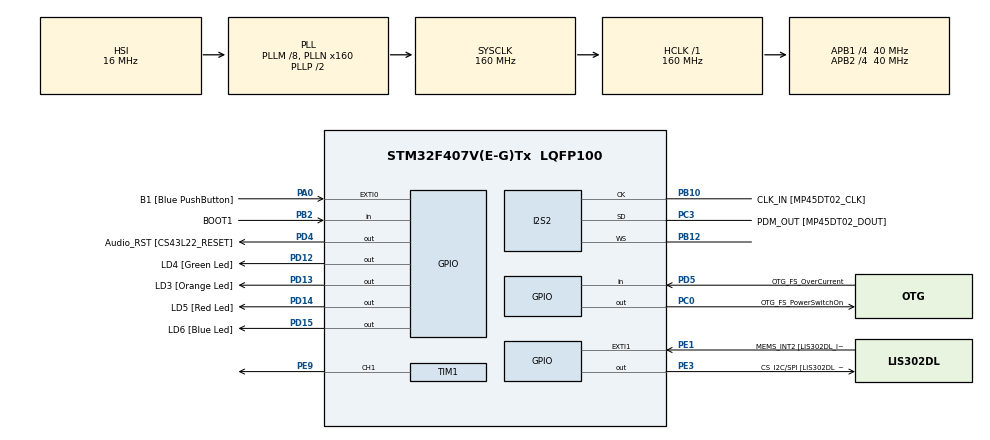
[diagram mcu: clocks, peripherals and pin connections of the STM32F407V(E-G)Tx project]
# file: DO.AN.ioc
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Dma.Request0=SPI2_RX
Dma.Request1=TIM1_CH1
Dma.SPI2_RX.0.Direction=DMA_PERIPH_TO_MEMORY
Dma.SPI2_RX.0.FIFOMode=DMA_FIFOMODE_DISABLE
Dma.SPI2_RX.0.Instance=DMA1_Stream3
Dma.SPI2_RX.0.MemDataAlignment=DMA_MDATAALIGN_HALFWORD
Dma.SPI2_RX.0.MemInc=DMA_MINC_ENABLE
Dma.SPI2_RX.0.Mode=DMA_CIRCULAR
Dma.SPI2_RX.0.PeriphDataAlignment=DMA_PDATAALIGN_HALFWORD
Dma.SPI2_RX.0.PeriphInc=DMA_PINC_DISABLE
Dma.SPI2_RX.0.Priority=DMA_PRIORITY_MEDIUM
Dma.TIM1_CH1.1.Direction=DMA_MEMORY_TO_PERIPH
Dma.TIM1_CH1.1.FIFOMode=DMA_FIFOMODE_DISABLE
Dma.TIM1_CH1.1.Instance=DMA2_Stream1
Dma.TIM1_CH1.1.MemDataAlignment=DMA_MDATAALIGN_HALFWORD
Dma.TIM1_CH1.1.MemInc=DMA_MINC_ENABLE
Dma.TIM1_CH1.1.Mode=DMA_NORMAL
Dma.TIM1_CH1.1.PeriphDataAlignment=DMA_PDATAALIGN_HALFWORD
Dma.TIM1_CH1.1.PeriphInc=DMA_PINC_DISABLE
Dma.TIM1_CH1.1.Priority=DMA_PRIORITY_HIGH
I2S2.AudioFreq=I2S_AUDIOFREQ_16K
I2S2.ErrorAudioFreq=-0.35 %
I2S2.FullDuplexMode=I2S_FULLDUPLEXMODE_DISABLE
I2S2.Instance=SPI$Index
I2S2.Mode=I2S_MODE_MASTER_RX
I2S2.RealAudioFreq=15.943 KHz
I2S2.VirtualMode=I2S_MODE_MASTER
Mcu.Family=STM32F4
Mcu.Name=STM32F407V(E-G)Tx
Mcu.Package=LQFP100
NVIC.DMA1_Stream3_IRQn=true\:0\:0\:false\:false\:true\:false\:true\:true
NVIC.DMA2_Stream1_IRQn=true\:0\:0\:false\:false\:true\:false\:true\:true
NVIC.PriorityGroup=NVIC_PRIORITYGROUP_0
PA0-WKUP.GPIO_Label=B1 [Blue PushButton]
PA0-WKUP.Signal=GPXTI0
PA10.GPIO_Label=OTG_FS_ID
PA10.GPIO_Mode=GPIO_MODE_AF_PP
PA10.GPIO_PuPd=GPIO_NOPULL
PA10.GPIO_Speed=GPIO_SPEED_FREQ_LOW
PA10.Signal=USB_OTG_FS_ID
PA11.GPIO_Label=OTG_FS_DM
PA11.GPIO_Mode=GPIO_MODE_AF_PP
PA11.GPIO_PuPd=GPIO_NOPULL
PA11.GPIO_Speed=GPIO_SPEED_FREQ_LOW
PA11.Signal=USB_OTG_FS_DM
PA12.GPIO_Label=OTG_FS_DP
PA12.GPIO_Mode=GPIO_MODE_AF_PP
PA12.GPIO_PuPd=GPIO_NOPULL
PA12.GPIO_Speed=GPIO_SPEED_FREQ_LOW
PA12.Signal=USB_OTG_FS_DP
PA13.GPIO_Label=SWDIO
PA13.Mode=Trace_Asynchronous_SW
PA13.Signal=SYS_JTMS-SWDIO
PA14.GPIO_Label=SWCLK
PA14.Mode=Trace_Asynchronous_SW
PA14.Signal=SYS_JTCK-SWCLK
PA4.GPIO_Label=I2S3_WS [CS43L22_LRCK]
PA4.GPIO_Mode=GPIO_MODE_AF_PP
PA4.GPIO_PuPd=GPIO_NOPULL
PA4.GPIO_Speed=GPIO_SPEED_FREQ_LOW
PA4.Signal=I2S3_WS
PA5.GPIO_Label=SPI1_SCK [LIS302DL_SCL/SPC]
PA5.GPIO_Mode=GPIO_MODE_AF_PP
PA5.GPIO_PuPd=GPIO_NOPULL
PA5.GPIO_Speed=GPIO_SPEED_FREQ_LOW
PA5.Signal=SPI1_SCK
PA6.GPIO_Label=SPI1_MISO [LIS302DL_SDO]
PA6.GPIO_Mode=GPIO_MODE_AF_PP
PA6.GPIO_PuPd=GPIO_NOPULL
PA6.GPIO_Speed=GPIO_SPEED_FREQ_LOW
PA6.Signal=SPI1_MISO
PA7.GPIO_Label=SPI1_MOSI [LIS302DL_SDA/SDI/SDO]
PA7.GPIO_Mode=GPIO_MODE_AF_PP
PA7.GPIO_PuPd=GPIO_NOPULL
PA7.GPIO_Speed=GPIO_SPEED_FREQ_LOW
PA7.Signal=SPI1_MOSI
PA9.GPIO_Label=VBUS_FS
PA9.GPIO_Mode=GPIO_MODE_INPUT
PA9.GPIO_PuPd=GPIO_NOPULL
PA9.Signal=USB_OTG_FS_VBUS
PB10.GPIO_Label=CLK_IN [MP45DT02_CLK]
PB10.GPIO_Mode=GPIO_MODE_AF_PP
PB10.GPIO_PuPd=GPIO_NOPULL
PB10.GPIO_Speed=GPIO_SPEED_FREQ_LOW
PB10.Mode=Half_Duplex_Master
PB10.Signal=I2S2_CK
PB12.Mode=Half_Duplex_Master
PB12.Signal=I2S2_WS
PB2.GPIO_Label=BOOT1
PB2.GPIO_Mode=GPIO_MODE_INPUT
PB2.GPIO_PuPd=GPIO_NOPULL
PB2.Signal=GPIO_Input
PB3.GPIO_Label=SWO
PB3.Mode=Trace_Asynchronous_SW
PB3.Signal=SYS_JTDO-SWO
PB6.GPIO_Label=Audio_SCL [CS43L22_SCL]
PB6.GPIO_Mode=GPIO_MODE_AF_OD
PB6.GPIO_PuPd=GPIO_NOPULL
PB6.GPIO_Speed=GPIO_SPEED_FREQ_LOW
PB6.Signal=I2C1_SCL
PB9.GPIO_Label=Audio_SDA [CS43L22_SDA]
PB9.GPIO_Mode=GPIO_MODE_AF_OD
PB9.GPIO_PuPd=GPIO_NOPULL
PB9.GPIO_Speed=GPIO_SPEED_FREQ_LOW
PB9.Signal=I2C1_SDA
PC0.GPIO_Label=OTG_FS_PowerSwitchOn
PC0.GPIO_PuPd=GPIO_NOPULL
PC0.GPIO_Speed=GPIO_SPEED_FREQ_LOW
PC0.PinState=GPIO_PIN_SET
PC0.Signal=GPIO_Output
PC10.GPIO_Label=I2S3_SCK [CS43L22_SCLK]
PC10.GPIO_Mode=GPIO_MODE_AF_PP
PC10.GPIO_PuPd=GPIO_NOPULL
PC10.GPIO_Speed=GPIO_SPEED_FREQ_LOW
PC10.Signal=I2S3_CK
PC12.GPIO_Label=I2S3_SD [CS43L22_SDIN]
PC12.GPIO_Mode=GPIO_MODE_AF_PP
PC12.GPIO_PuPd=GPIO_NOPULL
PC12.GPIO_Speed=GPIO_SPEED_FREQ_LOW
PC12.Signal=I2S3_SD
PC14-OSC32_IN.GPIO_Label=PC14-OSC32_IN
PC14-OSC32_IN.Signal=RCC_OSC32_IN
PC15-OSC32_OUT.GPIO_Label=PC15-OSC32_OUT
PC15-OSC32_OUT.Signal=RCC_OSC32_OUT
PC3.GPIO_Label=PDM_OUT [MP45DT02_DOUT]
PC3.GPIO_Mode=GPIO_MODE_AF_PP
PC3.GPIO_PuPd=GPIO_NOPULL
PC3.GPIO_Speed=GPIO_SPEED_FREQ_LOW
PC3.Mode=Half_Duplex_Master
PC3.Signal=I2S2_SD
PC7.GPIO_Label=I2S3_MCK [CS43L22_MCLK]
PC7.GPIO_Mode=GPIO_MODE_AF_PP
PC7.GPIO_PuPd=GPIO_NOPULL
PC7.GPIO_Speed=GPIO_SPEED_FREQ_LOW
PC7.Signal=I2S3_MCK
PD12.GPIO_Label=LD4 [Green Led]
PD12.GPIO_PuPd=GPIO_NOPULL
PD12.GPIO_Speed=GPIO_SPEED_FREQ_LOW
PD12.Signal=GPIO_Output
PD13.GPIO_Label=LD3 [Orange Led]
PD13.GPIO_PuPd=GPIO_NOPULL
PD13.GPIO_Speed=GPIO_SPEED_FREQ_LOW
PD13.Signal=GPIO_Output
PD14.GPIO_Label=LD5 [Red Led]
PD14.GPIO_PuPd=GPIO_NOPULL
PD14.GPIO_Speed=GPIO_SPEED_FREQ_LOW
PD14.Signal=GPIO_Output
PD15.GPIO_Label=LD6 [Blue Led]
PD15.GPIO_PuPd=GPIO_NOPULL
PD15.GPIO_Speed=GPIO_SPEED_FREQ_LOW
PD15.Signal=GPIO_Output
PD4.GPIO_Label=Audio_RST [CS43L22_RESET]
PD4.GPIO_PuPd=GPIO_NOPULL
PD4.GPIO_Speed=GPIO_SPEED_FREQ_LOW
PD4.Signal=GPIO_Output
PD5.GPIO_Label=OTG_FS_OverCurrent
PD5.GPIO_Mode=GPIO_MODE_INPUT
PD5.GPIO_PuPd=GPIO_NOPULL
PD5.Signal=GPIO_Input
PDM2PCM.CHANNEL1_in_ptr_channels=1
PDM2PCM.CHANNEL1_out_ptr_channels=1
PE1.GPIO_Label=MEMS_INT2 [LIS302DL_INT2]
PE1.GPIO_ModeDefaultEXTI=GPIO_MODE_EVT_RISING
PE1.GPIO_PuPd=GPIO_NOPULL
PE1.Signal=GPXTI1
PE3.GPIO_Label=CS_I2C/SPI [LIS302DL_CS_I2C/SPI]
PE3.GPIO_PuPd=GPIO_NOPULL
PE3.GPIO_Speed=GPIO_SPEED_FREQ_LOW
PE3.Signal=GPIO_Output
PE9.Signal=S_TIM1_CH1
PH0-OSC_IN.GPIO_Label=PH0-OSC_IN
PH0-OSC_IN.Signal=RCC_OSC_IN
PH1-OSC_OUT.GPIO_Label=PH1-OSC_OUT
PH1-OSC_OUT.Signal=RCC_OSC_OUT
ProjectManager.HeapSize=0x200
ProjectManager.StackSize=0x400
ProjectManager.TargetToolchain=STM32CubeIDE
RCC.48MHZClocksFreq_Value=45714285.71428572
RCC.AHBFreq_Value=160000000
RCC.APB1CLKDivider=RCC_HCLK_DIV4
RCC.APB1Freq_Value=40000000
RCC.APB1TimFreq_Value=80000000
RCC.APB2CLKDivider=RCC_HCLK_DIV4
RCC.APB2Freq_Value=40000000
RCC.APB2TimFreq_Value=80000000
RCC.CortexFreq_Value=160000000
RCC.HCLKFreq_Value=160000000
RCC.HSE_VALUE=8000000
RCC.HSI_VALUE=16000000
RCC.LSE_VALUE=32768
RCC.PLLI2SN=50
RCC.PLLM=8
RCC.PLLN=160
RCC.PLLQ=7
RCC.SYSCLKFreq_VALUE=160000000
RCC.SYSCLKSource=RCC_SYSCLKSOURCE_PLLCLK
RCC.VCOOutputFreq_Value=320000000
SH.S_TIM1_CH1.0=TIM1_CH1,PWM Generation1 CH1
TIM1.Channel-PWM\ Generation1\ CH1=TIM_CHANNEL_1
TIM1.Period=200-1
VP_CRC_VS_CRC.Mode=CRC_Activate
VP_PDM2PCM_VS_PDM2PCM.Mode=PDM2PCM_Channel
VP_TIM1_VS_ClockSourceINT.Mode=Internal
board=STM32F407G-DISC1

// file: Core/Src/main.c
/* USER CODE BEGIN Header */
/**
  ******************************************************************************
  * @file           : main.c
  * @brief          : Main program body
  ******************************************************************************
  * @attention
  *
  * Copyright (c) 2025 STMicroelectronics.
  * All rights reserved.
  *
  * This software is licensed under terms that can be found in the LICENSE file
  * in the root directory of this software component.
  * If no LICENSE file comes with this software, it is provided AS-IS.
  *
  ******************************************************************************
  */
/* USER CODE END Header */
#include "main.h"
#include "pdm2pcm.h"

/* USER CODE BEGIN Includes */
#include <stdio.h>
#include <stdlib.h>
#include "math.h"
/* USER CODE END Includes */

/* USER CODE BEGIN PD */
#define PDM_BUFFER_SIZE 128
#define PCM_BUFFER_SIZE 16

/* USER CODE END PD */

CRC_HandleTypeDef hcrc;

I2S_HandleTypeDef hi2s2;
DMA_HandleTypeDef hdma_spi2_rx;

TIM_HandleTypeDef htim1;
DMA_HandleTypeDef hdma_tim1_ch1;

/* USER CODE BEGIN PV */
uint16_t pdmBuffer[PDM_BUFFER_SIZE];
uint16_t pcmBuffer[PCM_BUFFER_SIZE];

PDM_Filter_Handler_t pdm_filter_handler;
PDM_Filter_Config_t pdm_filter_config;

int amplitude = 0;

volatile int pdmReady = 0;

uint8_t ledR[8][8], ledG[8][8], ledB[8][8]; //LED frame buffer
/* USER CODE END PV */

void SystemClock_Config(void);
static void MX_GPIO_Init(void);
static void MX_DMA_Init(void);
static void MX_I2S2_Init(void);
static void MX_TIM1_Init(void);
static void MX_CRC_Init(void);
/* USER CODE BEGIN PFP */
int process_amplitude(int16_t *pcm, int len)
{
	int32_t sum = 0;
	for (int i = 0; i < len; i++)
	{
		sum += abs(pcm[i]);
	}
	return sum / len;
}

//LED FUNCS
#define MAX_LED 64
#define USE_BRIGHTNESS 1

uint8_t LED_Data[MAX_LED][4];
uint8_t LED_Mod[MAX_LED][4];  // for brightness

int datasentflag=0;

void HAL_TIM_PWM_PulseFinishedCallback(TIM_HandleTypeDef *htim)
{
	if (htim->Instance == TIM1)
	{
		HAL_TIM_PWM_Stop_DMA(&htim1, TIM_CHANNEL_1);
		datasentflag = 1;
	}
}

void Set_LED (int LEDnum, int Red, int Green, int Blue)
{
	LED_Data[LEDnum][0] = LEDnum;
	LED_Data[LEDnum][1] = Green;
	LED_Data[LEDnum][2] = Red;
	LED_Data[LEDnum][3] = Blue;
}

#define PI 3.14159265

void Set_Brightness (int brightness)  // 0-45
{
#if USE_BRIGHTNESS

	if (brightness > 45) brightness = 45;
	for (int i=0; i<MAX_LED; i++)
	{
		LED_Mod[i][0] = LED_Data[i][0];
		for (int j=1; j<4; j++)
		{
			float angle = 90-brightness;  // in degrees
			angle = angle*PI / 180;  // in rad
			LED_Mod[i][j] = (LED_Data[i][j])/(tan(angle));
		}
	}

#endif

}

uint16_t pwmData[(24*MAX_LED)+50];

void WS2812_Send (void)
{
	uint32_t indx=0;
	uint32_t color;

	for (int i= 0; i<MAX_LED; i++)
	{
#if USE_BRIGHTNESS
		color = ((LED_Mod[i][1]<<16) | (LED_Mod[i][2]<<8) | (LED_Mod[i][3]));
#else
		color = ((LED_Data[i][1]<<16) | (LED_Data[i][2]<<8) | (LED_Data[i][3]));
#endif

		for (int i=23; i>=0; i--)
		{
			if (color&(1<<i))
			{
				pwmData[indx] = 60;  // 2/3 of 90
			}

			else pwmData[indx] = 30;  // 1/3 of 90

			indx++;
		}

	}

	for (int i=0; i<50; i++)
	{
		pwmData[indx] = 0;
		indx++;
	}

	HAL_TIM_PWM_Start_DMA(&htim1, TIM_CHANNEL_1, (uint32_t *)pwmData, indx);

	uint32_t timeout = HAL_GetTick();

	while (!datasentflag){};
	datasentflag = 0;
}

void Reset_LED (void)
{
	for (int i=0; i<MAX_LED; i++)
	{
		LED_Data[i][0] = i;
		LED_Data[i][1] = 0;
		LED_Data[i][2] = 0;
		LED_Data[i][3] = 0;
	}
}

// ported from the arduino code for 8 LEDs located at ->>>>  https://adrianotiger.github.io/Neopixel-Effect-Generator/

uint16_t effStep = 0;

uint8_t rainbow_effect_left() {
    // Strip ID: 0 - Effect: Rainbow - LEDS: 8
    // Steps: 13 - Delay: 54
    // Colors: 3 (255.0.0, 0.255.0, 0.0.255)
    // Options: rainbowlen=8, toLeft=true,
//  if(millis() - strip_0.effStart < 54 * (strip_0.effStep)) return 0x00;

  float factor1, factor2;
  uint16_t ind;
  for(uint16_t j=0;j<8;j++) {
    ind = effStep + j * 1.625;
    switch((int)((ind % 13) / 4.333333333333333)) {
      case 0: factor1 = 1.0 - ((float)(ind % 13 - 0 * 4.333333333333333) / 4.333333333333333);
              factor2 = (float)((int)(ind - 0) % 13) / 4.333333333333333;
              /************ chnaged here *********/
              Set_LED(j, 255 * factor1 + 0 * factor2, 0 * factor1 + 255 * factor2, 0 * factor1 + 0 * factor2);
              WS2812_Send();
              break;
      case 1: factor1 = 1.0 - ((float)(ind % 13 - 1 * 4.333333333333333) / 4.333333333333333);
              factor2 = (float)((int)(ind - 4.333333333333333) % 13) / 4.333333333333333;
              Set_LED(j, 0 * factor1 + 0 * factor2, 255 * factor1 + 0 * factor2, 0 * factor1 + 255 * factor2);
              WS2812_Send();
              break;
      case 2: factor1 = 1.0 - ((float)(ind % 13 - 2 * 4.333333333333333) / 4.333333333333333);
              factor2 = (float)((int)(ind - 8.666666666666666) % 13) / 4.333333333333333;
              Set_LED(j, 0 * factor1 + 255 * factor2, 0 * factor1 + 0 * factor2, 255 * factor1 + 0 * factor2);
              WS2812_Send();
              break;
    }
  }
  if(effStep >= 13) {effStep=0; return 0x03; }
  else effStep++;
  return 0x01;
}

uint8_t rainbow_effect_right() {
    // Strip ID: 0 - Effect: Rainbow - LEDS: 8
    // Steps: 14 - Delay: 30
    // Colors: 3 (255.0.0, 0.255.0, 0.0.255)
    // Options: rainbowlen=8, toLeft=false,
//  if(millis() - strip_0.effStart < 30 * (strip_0.effStep)) return 0x00;
  float factor1, factor2;
  uint16_t ind;
  for(uint16_t j=0;j<8;j++) {
    ind = 14 - (int16_t)(effStep - j * 1.75) % 14;
    switch((int)((ind % 14) / 4.666666666666667)) {
      case 0: factor1 = 1.0 - ((float)(ind % 14 - 0 * 4.666666666666667) / 4.666666666666667);
              factor2 = (float)((int)(ind - 0) % 14) / 4.666666666666667;
              Set_LED(j, 255 * factor1 + 0 * factor2, 0 * factor1 + 255 * factor2, 0 * factor1 + 0 * factor2);
              WS2812_Send();
              break;
      case 1: factor1 = 1.0 - ((float)(ind % 14 - 1 * 4.666666666666667) / 4.666666666666667);
              factor2 = (float)((int)(ind - 4.666666666666667) % 14) / 4.666666666666667;
              Set_LED(j, 0 * factor1 + 0 * factor2, 255 * factor1 + 0 * factor2, 0 * factor1 + 255 * factor2);
              WS2812_Send();
              break;
      case 2: factor1 = 1.0 - ((float)(ind % 14 - 2 * 4.666666666666667) / 4.666666666666667);
              factor2 = (float)((int)(ind - 9.333333333333334) % 14) / 4.666666666666667;
              Set_LED(j, 0 * factor1 + 255 * factor2, 0 * factor1 + 0 * factor2, 255 * factor1 + 0 * factor2);
              WS2812_Send();
              break;
    }
  }
  if(effStep >= 14) {effStep = 0; return 0x03; }
  else effStep++;
  return 0x01;
}

uint16_t getLedIndex(uint8_t x, uint8_t y) {
    if (y % 2 == 0) {
        return y * 8 + x;
    } else {
        return y * 8 + (7 - x);  // reverse in odd rows
    }
}
void shiftLeft() {
    for (int x = 0; x < 7; x++) {
        for (int y = 0; y < 8; y++) {
            ledR[x][y] = ledR[x+1][y];
            ledG[x][y] = ledG[x+1][y];
            ledB[x][y] = ledB[x+1][y];
        }
    }
}
void insertAmplitudeColumn(int amplitude) {
    int height = amplitude / 100;
    if (height > 8) height = 8;

    for (int y = 0; y < 8; y++) {
        if (y < height) {
            ledR[7][y] = rand() % 256;
            ledG[7][y] = rand() % 256;
            ledB[7][y] = rand() % 256;
        } else {
            ledR[7][y] = 0;
            ledG[7][y] = 0;
            ledB[7][y] = 0;
        }
    }
}
void updateLEDs() {
    for (int y = 0; y < 8; y++) {
        for (int x = 0; x < 8; x++) {
            int i = getLedIndex(x, y);
            Set_LED(i, ledR[x][y], ledG[x][y], ledB[x][y]);
        }
    }
    Set_Brightness(10);
    WS2812_Send();
}
/* USER CODE END PFP */

int main(void)
{

  /* MCU Configuration--------------------------------------------------------*/

  /* Reset of all peripherals, Initializes the Flash interface and the Systick. */
	HAL_Init();

  /* Configure the system clock */
  SystemClock_Config();

  /* Initialize all configured peripherals */
  MX_GPIO_Init();
  MX_DMA_Init();
  MX_I2S2_Init();
  MX_TIM1_Init();
  MX_CRC_Init();
  MX_PDM2PCM_Init();
  /* USER CODE BEGIN 2 */

  HAL_I2S_Receive_DMA(&hi2s2,(uint8_t*) pdmBuffer, PDM_BUFFER_SIZE);

  /* USER CODE END 2 */

  /* Infinite loop */
  while (1)
  {
	  if(pdmReady == 1)
	  {
		  pdmReady = 0;
	      // Convert PDM to PCM
		  MX_PDM2PCM_Process(&pdmBuffer[PDM_BUFFER_SIZE / 2], pcmBuffer);

	      // Get amplitude
	      amplitude = process_amplitude((int16_t*)pcmBuffer, PCM_BUFFER_SIZE);
	      printf("AMP: %d\n", amplitude);

	      // Map amplitude to green
	      // Map amplitude to 0–8 LEDs
	      /*
	      int level = amplitude / 100;  // Do nhay
	      if (level > 8) level = 8;

	      // Update LED colors
	      for (int i = 0; i < 8; i++)
	      {
	          if (i < level)
	          {
	              uint8_t r = rand() % 256;
	              uint8_t g = rand() % 256;
	              uint8_t b = rand() % 256;
	              Set_LED(i, r, g, b);
	          }
	          else
	              Set_LED(i, 0, 0, 0);   // Off
	      }

	      Set_Brightness(1);
	      WS2812_Send();
	      */

	      shiftLeft();
	      insertAmplitudeColumn(amplitude);
	      updateLEDs();
	      // Restart I2S DMA
	      HAL_I2S_Receive_DMA(&hi2s2, pdmBuffer, PDM_BUFFER_SIZE);

	  }
  }
}

void SystemClock_Config(void)
{
  RCC_OscInitTypeDef RCC_OscInitStruct = {0};
  RCC_ClkInitTypeDef RCC_ClkInitStruct = {0};

  /** Configure the main internal regulator output voltage
  */
  __HAL_RCC_PWR_CLK_ENABLE();
  __HAL_PWR_VOLTAGESCALING_CONFIG(PWR_REGULATOR_VOLTAGE_SCALE1);

  /** Initializes the RCC Oscillators according to the specified parameters
  * in the RCC_OscInitTypeDef structure.
  */
  RCC_OscInitStruct.OscillatorType = RCC_OSCILLATORTYPE_HSI;
  RCC_OscInitStruct.HSIState = RCC_HSI_ON;
  RCC_OscInitStruct.HSICalibrationValue = RCC_HSICALIBRATION_DEFAULT;
  RCC_OscInitStruct.PLL.PLLState = RCC_PLL_ON;
  RCC_OscInitStruct.PLL.PLLSource = RCC_PLLSOURCE_HSI;
  RCC_OscInitStruct.PLL.PLLM = 8;
  RCC_OscInitStruct.PLL.PLLN = 160;
  RCC_OscInitStruct.PLL.PLLP = RCC_PLLP_DIV2;
  RCC_OscInitStruct.PLL.PLLQ = 7;
  if (HAL_RCC_OscConfig(&RCC_OscInitStruct) != HAL_OK)
  {
    Error_Handler();
  }

  /** Initializes the CPU, AHB and APB buses clocks
  */
  RCC_ClkInitStruct.ClockType = RCC_CLOCKTYPE_HCLK|RCC_CLOCKTYPE_SYSCLK
                              |RCC_CLOCKTYPE_PCLK1|RCC_CLOCKTYPE_PCLK2;
  RCC_ClkInitStruct.SYSCLKSource = RCC_SYSCLKSOURCE_PLLCLK;
  RCC_ClkInitStruct.AHBCLKDivider = RCC_SYSCLK_DIV1;
  RCC_ClkInitStruct.APB1CLKDivider = RCC_HCLK_DIV4;
  RCC_ClkInitStruct.APB2CLKDivider = RCC_HCLK_DIV4;

  if (HAL_RCC_ClockConfig(&RCC_ClkInitStruct, FLASH_LATENCY_5) != HAL_OK)
  {
    Error_Handler();
  }
}

static void MX_CRC_Init(void)
{

  hcrc.Instance = CRC;
  if (HAL_CRC_Init(&hcrc) != HAL_OK)
  {
    Error_Handler();
  }
  __HAL_CRC_DR_RESET(&hcrc);

}

static void MX_I2S2_Init(void)
{

  hi2s2.Instance = SPI2;
  hi2s2.Init.Mode = I2S_MODE_MASTER_RX;
  hi2s2.Init.Standard = I2S_STANDARD_PHILIPS;
  hi2s2.Init.DataFormat = I2S_DATAFORMAT_16B;
  hi2s2.Init.MCLKOutput = I2S_MCLKOUTPUT_DISABLE;
  hi2s2.Init.AudioFreq = I2S_AUDIOFREQ_16K;
  hi2s2.Init.CPOL = I2S_CPOL_LOW;
  hi2s2.Init.ClockSource = I2S_CLOCK_PLL;
  hi2s2.Init.FullDuplexMode = I2S_FULLDUPLEXMODE_DISABLE;
  if (HAL_I2S_Init(&hi2s2) != HAL_OK)
  {
    Error_Handler();
  }

}

static void MX_TIM1_Init(void)
{

  TIM_ClockConfigTypeDef sClockSourceConfig = {0};
  TIM_MasterConfigTypeDef sMasterConfig = {0};
  TIM_OC_InitTypeDef sConfigOC = {0};
  TIM_BreakDeadTimeConfigTypeDef sBreakDeadTimeConfig = {0};

  htim1.Instance = TIM1;
  htim1.Init.Prescaler = 0;
  htim1.Init.CounterMode = TIM_COUNTERMODE_UP;
  htim1.Init.Period = 200-1;
  htim1.Init.ClockDivision = TIM_CLOCKDIVISION_DIV1;
  htim1.Init.RepetitionCounter = 0;
  htim1.Init.AutoReloadPreload = TIM_AUTORELOAD_PRELOAD_DISABLE;
  if (HAL_TIM_Base_Init(&htim1) != HAL_OK)
  {
    Error_Handler();
  }
  sClockSourceConfig.ClockSource = TIM_CLOCKSOURCE_INTERNAL;
  if (HAL_TIM_ConfigClockSource(&htim1, &sClockSourceConfig) != HAL_OK)
  {
    Error_Handler();
  }
  if (HAL_TIM_PWM_Init(&htim1) != HAL_OK)
  {
    Error_Handler();
  }
  sMasterConfig.MasterOutputTrigger = TIM_TRGO_RESET;
  sMasterConfig.MasterSlaveMode = TIM_MASTERSLAVEMODE_DISABLE;
  if (HAL_TIMEx_MasterConfigSynchronization(&htim1, &sMasterConfig) != HAL_OK)
  {
    Error_Handler();
  }
  sConfigOC.OCMode = TIM_OCMODE_PWM1;
  sConfigOC.Pulse = 0;
  sConfigOC.OCPolarity = TIM_OCPOLARITY_HIGH;
  sConfigOC.OCNPolarity = TIM_OCNPOLARITY_HIGH;
  sConfigOC.OCFastMode = TIM_OCFAST_DISABLE;
  sConfigOC.OCIdleState = TIM_OCIDLESTATE_RESET;
  sConfigOC.OCNIdleState = TIM_OCNIDLESTATE_RESET;
  if (HAL_TIM_PWM_ConfigChannel(&htim1, &sConfigOC, TIM_CHANNEL_1) != HAL_OK)
  {
    Error_Handler();
  }
  sBreakDeadTimeConfig.OffStateRunMode = TIM_OSSR_DISABLE;
  sBreakDeadTimeConfig.OffStateIDLEMode = TIM_OSSI_DISABLE;
  sBreakDeadTimeConfig.LockLevel = TIM_LOCKLEVEL_OFF;
  sBreakDeadTimeConfig.DeadTime = 0;
  sBreakDeadTimeConfig.BreakState = TIM_BREAK_DISABLE;
  sBreakDeadTimeConfig.BreakPolarity = TIM_BREAKPOLARITY_HIGH;
  sBreakDeadTimeConfig.AutomaticOutput = TIM_AUTOMATICOUTPUT_DISABLE;
  if (HAL_TIMEx_ConfigBreakDeadTime(&htim1, &sBreakDeadTimeConfig) != HAL_OK)
  {
    Error_Handler();
  }
  HAL_TIM_MspPostInit(&htim1);

}

static void MX_DMA_Init(void)
{

  /* DMA controller clock enable */
  __HAL_RCC_DMA1_CLK_ENABLE();
  __HAL_RCC_DMA2_CLK_ENABLE();

  /* DMA interrupt init */
  /* DMA1_Stream3_IRQn interrupt configuration */
  HAL_NVIC_SetPriority(DMA1_Stream3_IRQn, 0, 0);
  HAL_NVIC_EnableIRQ(DMA1_Stream3_IRQn);
  /* DMA2_Stream1_IRQn interrupt configuration */
  HAL_NVIC_SetPriority(DMA2_Stream1_IRQn, 0, 0);
  HAL_NVIC_EnableIRQ(DMA2_Stream1_IRQn);

}

static void MX_GPIO_Init(void)
{
  GPIO_InitTypeDef GPIO_InitStruct = {0};

  /* GPIO Ports Clock Enable */
  __HAL_RCC_GPIOE_CLK_ENABLE();
  __HAL_RCC_GPIOC_CLK_ENABLE();
  __HAL_RCC_GPIOH_CLK_ENABLE();
  __HAL_RCC_GPIOA_CLK_ENABLE();
  __HAL_RCC_GPIOB_CLK_ENABLE();
  __HAL_RCC_GPIOD_CLK_ENABLE();

  /*Configure GPIO pin Output Level */
  HAL_GPIO_WritePin(CS_I2C_SPI_GPIO_Port, CS_I2C_SPI_Pin, GPIO_PIN_RESET);

  /*Configure GPIO pin Output Level */
  HAL_GPIO_WritePin(OTG_FS_PowerSwitchOn_GPIO_Port, OTG_FS_PowerSwitchOn_Pin, GPIO_PIN_SET);

  /*Configure GPIO pin Output Level */
  HAL_GPIO_WritePin(GPIOD, LD4_Pin|LD3_Pin|LD5_Pin|LD6_Pin
                          |Audio_RST_Pin, GPIO_PIN_RESET);

  /*Configure GPIO pin : CS_I2C_SPI_Pin */
  GPIO_InitStruct.Pin = CS_I2C_SPI_Pin;
  GPIO_InitStruct.Mode = GPIO_MODE_OUTPUT_PP;
  GPIO_InitStruct.Pull = GPIO_NOPULL;
  GPIO_InitStruct.Speed = GPIO_SPEED_FREQ_LOW;
  HAL_GPIO_Init(CS_I2C_SPI_GPIO_Port, &GPIO_InitStruct);

  /*Configure GPIO pin : OTG_FS_PowerSwitchOn_Pin */
  GPIO_InitStruct.Pin = OTG_FS_PowerSwitchOn_Pin;
  GPIO_InitStruct.Mode = GPIO_MODE_OUTPUT_PP;
  GPIO_InitStruct.Pull = GPIO_NOPULL;
  GPIO_InitStruct.Speed = GPIO_SPEED_FREQ_LOW;
  HAL_GPIO_Init(OTG_FS_PowerSwitchOn_GPIO_Port, &GPIO_InitStruct);

  /*Configure GPIO pin : B1_Pin */
  GPIO_InitStruct.Pin = B1_Pin;
  GPIO_InitStruct.Mode = GPIO_MODE_IT_RISING;
  GPIO_InitStruct.Pull = GPIO_NOPULL;
  HAL_GPIO_Init(B1_GPIO_Port, &GPIO_InitStruct);

  /*Configure GPIO pin : I2S3_WS_Pin */
  GPIO_InitStruct.Pin = I2S3_WS_Pin;
  GPIO_InitStruct.Mode = GPIO_MODE_AF_PP;
  GPIO_InitStruct.Pull = GPIO_NOPULL;
  GPIO_InitStruct.Speed = GPIO_SPEED_FREQ_LOW;
  GPIO_InitStruct.Alternate = GPIO_AF6_SPI3;
  HAL_GPIO_Init(I2S3_WS_GPIO_Port, &GPIO_InitStruct);

  /*Configure GPIO pins : SPI1_SCK_Pin SPI1_MISO_Pin SPI1_MOSI_Pin */
  GPIO_InitStruct.Pin = SPI1_SCK_Pin|SPI1_MISO_Pin|SPI1_MOSI_Pin;
  GPIO_InitStruct.Mode = GPIO_MODE_AF_PP;
  GPIO_InitStruct.Pull = GPIO_NOPULL;
  GPIO_InitStruct.Speed = GPIO_SPEED_FREQ_LOW;
  GPIO_InitStruct.Alternate = GPIO_AF5_SPI1;
  HAL_GPIO_Init(GPIOA, &GPIO_InitStruct);

  /*Configure GPIO pin : BOOT1_Pin */
  GPIO_InitStruct.Pin = BOOT1_Pin;
  GPIO_InitStruct.Mode = GPIO_MODE_INPUT;
  GPIO_InitStruct.Pull = GPIO_NOPULL;
  HAL_GPIO_Init(BOOT1_GPIO_Port, &GPIO_InitStruct);

  /*Configure GPIO pins : LD4_Pin LD3_Pin LD5_Pin LD6_Pin
                           Audio_RST_Pin */
  GPIO_InitStruct.Pin = LD4_Pin|LD3_Pin|LD5_Pin|LD6_Pin
                          |Audio_RST_Pin;
  GPIO_InitStruct.Mode = GPIO_MODE_OUTPUT_PP;
  GPIO_InitStruct.Pull = GPIO_NOPULL;
  GPIO_InitStruct.Speed = GPIO_SPEED_FREQ_LOW;
  HAL_GPIO_Init(GPIOD, &GPIO_InitStruct);

  /*Configure GPIO pins : I2S3_MCK_Pin I2S3_SCK_Pin I2S3_SD_Pin */
  GPIO_InitStruct.Pin = I2S3_MCK_Pin|I2S3_SCK_Pin|I2S3_SD_Pin;
  GPIO_InitStruct.Mode = GPIO_MODE_AF_PP;
  GPIO_InitStruct.Pull = GPIO_NOPULL;
  GPIO_InitStruct.Speed = GPIO_SPEED_FREQ_LOW;
  GPIO_InitStruct.Alternate = GPIO_AF6_SPI3;
  HAL_GPIO_Init(GPIOC, &GPIO_InitStruct);

  /*Configure GPIO pin : VBUS_FS_Pin */
  GPIO_InitStruct.Pin = VBUS_FS_Pin;
  GPIO_InitStruct.Mode = GPIO_MODE_INPUT;
  GPIO_InitStruct.Pull = GPIO_NOPULL;
  HAL_GPIO_Init(VBUS_FS_GPIO_Port, &GPIO_InitStruct);

  /*Configure GPIO pins : OTG_FS_ID_Pin OTG_FS_DM_Pin OTG_FS_DP_Pin */
  GPIO_InitStruct.Pin = OTG_FS_ID_Pin|OTG_FS_DM_Pin|OTG_FS_DP_Pin;
  GPIO_InitStruct.Mode = GPIO_MODE_AF_PP;
  GPIO_InitStruct.Pull = GPIO_NOPULL;
  GPIO_InitStruct.Speed = GPIO_SPEED_FREQ_LOW;
  GPIO_InitStruct.Alternate = GPIO_AF10_OTG_FS;
  HAL_GPIO_Init(GPIOA, &GPIO_InitStruct);

  /*Configure GPIO pin : OTG_FS_OverCurrent_Pin */
  GPIO_InitStruct.Pin = OTG_FS_OverCurrent_Pin;
  GPIO_InitStruct.Mode = GPIO_MODE_INPUT;
  GPIO_InitStruct.Pull = GPIO_NOPULL;
  HAL_GPIO_Init(OTG_FS_OverCurrent_GPIO_Port, &GPIO_InitStruct);

  /*Configure GPIO pins : Audio_SCL_Pin Audio_SDA_Pin */
  GPIO_InitStruct.Pin = Audio_SCL_Pin|Audio_SDA_Pin;
  GPIO_InitStruct.Mode = GPIO_MODE_AF_OD;
  GPIO_InitStruct.Pull = GPIO_NOPULL;
  GPIO_InitStruct.Speed = GPIO_SPEED_FREQ_LOW;
  GPIO_InitStruct.Alternate = GPIO_AF4_I2C1;
  HAL_GPIO_Init(GPIOB, &GPIO_InitStruct);

  /*Configure GPIO pin : MEMS_INT2_Pin */
  GPIO_InitStruct.Pin = MEMS_INT2_Pin;
  GPIO_InitStruct.Mode = GPIO_MODE_EVT_RISING;
  GPIO_InitStruct.Pull = GPIO_NOPULL;
  HAL_GPIO_Init(MEMS_INT2_GPIO_Port, &GPIO_InitStruct);

  /* USER CODE BEGIN MX_GPIO_Init_2 */

  GPIO_InitStruct.Pin = GPIO_PIN_9;
  GPIO_InitStruct.Mode = GPIO_MODE_AF_PP;
  GPIO_InitStruct.Pull = GPIO_NOPULL;
  GPIO_InitStruct.Speed = GPIO_SPEED_FREQ_HIGH;
  GPIO_InitStruct.Alternate = GPIO_AF1_TIM1;
  HAL_GPIO_Init(GPIOE, &GPIO_InitStruct);

  /* USER CODE END MX_GPIO_Init_2 */
}

/* USER CODE BEGIN 4 */
int _write(int le, char *ptr, int len)
{
	int DataIdx;
	for(DataIdx = 0; DataIdx < len; DataIdx++)
	{
		ITM_SendChar(*ptr++);
	}

	return len;
}

void HAL_I2S_RxHalfCpltCallback(I2S_HandleTypeDef *hi2s)
{
	if (hi2s->Instance == SPI2)
	{
		MX_PDM2PCM_Process(&pdmBuffer[0], pcmBuffer);
		amplitude = process_amplitude(pcmBuffer, PCM_BUFFER_SIZE);
	}
}

void HAL_I2S_RxCpltCallback(I2S_HandleTypeDef *hi2s)
{
    if (hi2s->Instance == SPI2)
    {
    	//MX_PDM2PCM_Process(&pdmBuffer[PDM_BUFFER_SIZE / 2], pcmBuffer);
    	//amplitude = process_amplitude(pcmBuffer, PCM_BUFFER_SIZE);

    	//printf("AMP: %d\n", amplitude);
    	pdmReady = 1;

    }
}
/* USER CODE END 4 */

void Error_Handler(void)
{
  __disable_irq();
  while (1)
  {
  }
}
